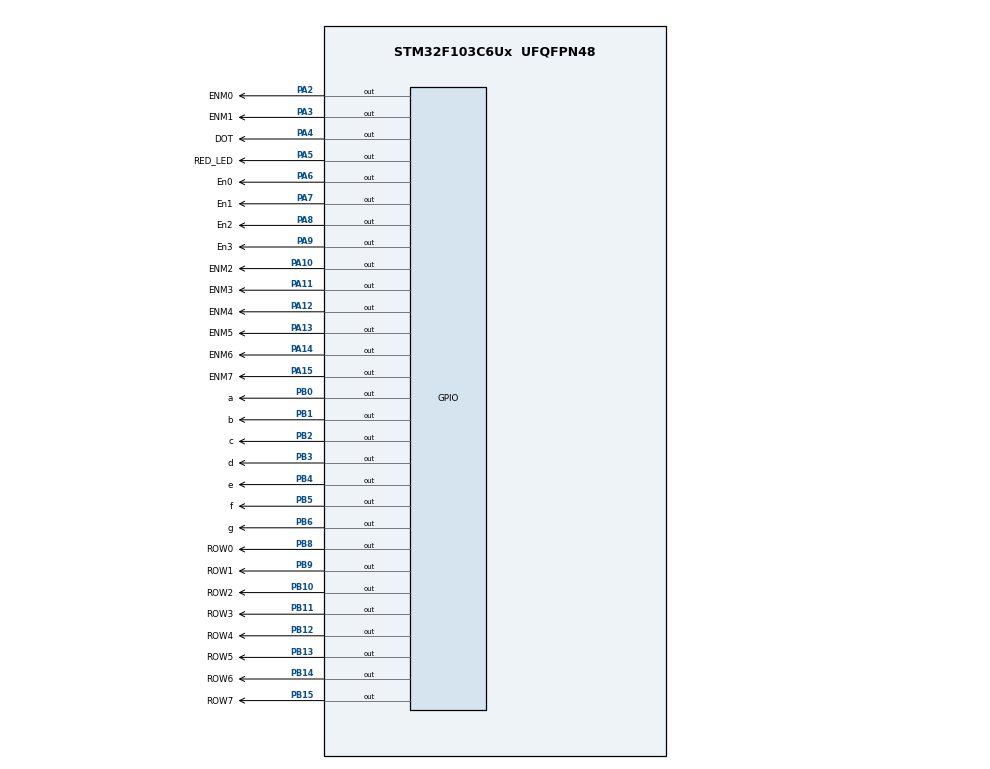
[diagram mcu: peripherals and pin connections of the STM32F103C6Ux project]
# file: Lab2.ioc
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Mcu.Family=STM32F1
Mcu.Name=STM32F103C6Ux
Mcu.Package=UFQFPN48
NVIC.PriorityGroup=NVIC_PRIORITYGROUP_4
NVIC.TIM2_IRQn=true\:0\:0\:false\:false\:true\:true\:true
PA10.GPIO_Label=ENM2
PA10.Signal=GPIO_Output
PA11.GPIO_Label=ENM3
PA11.Signal=GPIO_Output
PA12.GPIO_Label=ENM4
PA12.Signal=GPIO_Output
PA13.GPIO_Label=ENM5
PA13.Signal=GPIO_Output
PA14.GPIO_Label=ENM6
PA14.Signal=GPIO_Output
PA15.GPIO_Label=ENM7
PA15.Signal=GPIO_Output
PA2.GPIO_Label=ENM0
PA2.Signal=GPIO_Output
PA3.GPIO_Label=ENM1
PA3.Signal=GPIO_Output
PA4.GPIO_Label=DOT
PA4.Signal=GPIO_Output
PA5.GPIO_Label=RED_LED
PA5.Signal=GPIO_Output
PA6.GPIO_Label=En0
PA6.Signal=GPIO_Output
PA7.GPIO_Label=En1
PA7.Signal=GPIO_Output
PA8.GPIO_Label=En2
PA8.Signal=GPIO_Output
PA9.GPIO_Label=En3
PA9.Signal=GPIO_Output
PB0.GPIO_Label=a
PB0.Signal=GPIO_Output
PB1.GPIO_Label=b
PB1.Signal=GPIO_Output
PB10.GPIO_Label=ROW2
PB10.Signal=GPIO_Output
PB11.GPIO_Label=ROW3
PB11.Signal=GPIO_Output
PB12.GPIO_Label=ROW4
PB12.Signal=GPIO_Output
PB13.GPIO_Label=ROW5
PB13.Signal=GPIO_Output
PB14.GPIO_Label=ROW6
PB14.Signal=GPIO_Output
PB15.GPIO_Label=ROW7
PB15.Signal=GPIO_Output
PB2.GPIO_Label=c
PB2.Signal=GPIO_Output
PB3.GPIO_Label=d
PB3.Signal=GPIO_Output
PB4.GPIO_Label=e
PB4.Signal=GPIO_Output
PB5.GPIO_Label=f
PB5.Signal=GPIO_Output
PB6.GPIO_Label=g
PB6.Signal=GPIO_Output
PB8.GPIO_Label=ROW0
PB8.Signal=GPIO_Output
PB9.GPIO_Label=ROW1
PB9.Signal=GPIO_Output
ProjectManager.HeapSize=0x200
ProjectManager.StackSize=0x400
ProjectManager.TargetToolchain=STM32CubeIDE
RCC.APB1Freq_Value=8000000
RCC.APB2Freq_Value=8000000
TIM2.Period=9
TIM2.Prescaler=7999
VP_SYS_VS_ND.Mode=No_Debug
VP_TIM2_VS_ClockSourceINT.Mode=Internal
board=custom

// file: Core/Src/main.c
/* USER CODE BEGIN Header */
/* USER CODE END Header */
#include "main.h"

/* USER CODE BEGIN Includes */
#include<sorfware_timer.h>
/* USER CODE END Includes */

TIM_HandleTypeDef htim2;

void SystemClock_Config(void);
static void MX_GPIO_Init(void);
static void MX_TIM2_Init(void);

/* USER CODE BEGIN 0 */

void clear7SEG(){
	  HAL_GPIO_WritePin(a_GPIO_Port, a_Pin, GPIO_PIN_SET);
	  HAL_GPIO_WritePin(b_GPIO_Port, b_Pin, GPIO_PIN_SET);
	  HAL_GPIO_WritePin(c_GPIO_Port, c_Pin, GPIO_PIN_SET);
	  HAL_GPIO_WritePin(d_GPIO_Port, d_Pin, GPIO_PIN_SET);
	  HAL_GPIO_WritePin(e_GPIO_Port, e_Pin, GPIO_PIN_SET);
	  HAL_GPIO_WritePin(f_GPIO_Port, f_Pin, GPIO_PIN_SET);
	  HAL_GPIO_WritePin(g_GPIO_Port, g_Pin, GPIO_PIN_SET);
}
void display7SEG(int num){
    	  switch(num){
    	  	  case 0:
    	  		  HAL_GPIO_WritePin(a_GPIO_Port, a_Pin, GPIO_PIN_RESET);
    	  		  HAL_GPIO_WritePin(b_GPIO_Port, b_Pin, GPIO_PIN_RESET);
    	  		  HAL_GPIO_WritePin(c_GPIO_Port, c_Pin, GPIO_PIN_RESET);
    	  		  HAL_GPIO_WritePin(d_GPIO_Port, d_Pin, GPIO_PIN_RESET);
    	  		  HAL_GPIO_WritePin(e_GPIO_Port, e_Pin, GPIO_PIN_RESET);
    	  		  HAL_GPIO_WritePin(f_GPIO_Port, f_Pin, GPIO_PIN_RESET);
    	  		  HAL_GPIO_WritePin(g_GPIO_Port, g_Pin, GPIO_PIN_SET);
    	  		  break;
    	  	  case 1:
    	  		  HAL_GPIO_WritePin(a_GPIO_Port, a_Pin, GPIO_PIN_SET);
    	  		  HAL_GPIO_WritePin(b_GPIO_Port, b_Pin, GPIO_PIN_RESET);
    	  		  HAL_GPIO_WritePin(c_GPIO_Port, c_Pin, GPIO_PIN_RESET);
    	  		  HAL_GPIO_WritePin(d_GPIO_Port, d_Pin, GPIO_PIN_SET);
    	  		  HAL_GPIO_WritePin(e_GPIO_Port, e_Pin, GPIO_PIN_SET);
    	  		  HAL_GPIO_WritePin(f_GPIO_Port, f_Pin, GPIO_PIN_SET);
    	  		  HAL_GPIO_WritePin(g_GPIO_Port, g_Pin, GPIO_PIN_SET);
    	  		  break;
    	  	  case 2:
    	  		  HAL_GPIO_WritePin(a_GPIO_Port, a_Pin, GPIO_PIN_RESET);
    	  		  HAL_GPIO_WritePin(b_GPIO_Port, b_Pin, GPIO_PIN_RESET);
    	  		  HAL_GPIO_WritePin(c_GPIO_Port, c_Pin, GPIO_PIN_SET);
    	  		  HAL_GPIO_WritePin(d_GPIO_Port, d_Pin, GPIO_PIN_RESET);
    	  		  HAL_GPIO_WritePin(e_GPIO_Port, e_Pin, GPIO_PIN_RESET);
    	  		  HAL_GPIO_WritePin(f_GPIO_Port, f_Pin, GPIO_PIN_SET);
    	  		  HAL_GPIO_WritePin(g_GPIO_Port, g_Pin, GPIO_PIN_RESET);
    	  		  break;
    	  	  case 3:
    	  		  HAL_GPIO_WritePin(a_GPIO_Port, GPIO_PIN_0, GPIO_PIN_RESET);
    	  		  HAL_GPIO_WritePin(b_GPIO_Port, GPIO_PIN_1, GPIO_PIN_RESET);
    	  		  HAL_GPIO_WritePin(c_GPIO_Port, GPIO_PIN_2, GPIO_PIN_RESET);
    	  		  HAL_GPIO_WritePin(d_GPIO_Port, GPIO_PIN_3, GPIO_PIN_RESET);
    	  		  HAL_GPIO_WritePin(e_GPIO_Port, GPIO_PIN_4, GPIO_PIN_SET);
    	  		  HAL_GPIO_WritePin(f_GPIO_Port, GPIO_PIN_5, GPIO_PIN_SET);
    	  		  HAL_GPIO_WritePin(g_GPIO_Port, GPIO_PIN_6, GPIO_PIN_RESET);
    	  		  break;
    	  	  case 4:
    	  		  HAL_GPIO_WritePin(a_GPIO_Port, GPIO_PIN_0, GPIO_PIN_SET);
    	  		  HAL_GPIO_WritePin(b_GPIO_Port, GPIO_PIN_1, GPIO_PIN_RESET);
    	  		  HAL_GPIO_WritePin(c_GPIO_Port, GPIO_PIN_2, GPIO_PIN_RESET);
    	  		  HAL_GPIO_WritePin(d_GPIO_Port, GPIO_PIN_3, GPIO_PIN_SET);
    	  		  HAL_GPIO_WritePin(e_GPIO_Port, GPIO_PIN_4, GPIO_PIN_SET);
    	  		  HAL_GPIO_WritePin(f_GPIO_Port, GPIO_PIN_5, GPIO_PIN_RESET);
    	  		  HAL_GPIO_WritePin(g_GPIO_Port, GPIO_PIN_6, GPIO_PIN_RESET);
    	  		  break;
    	  	  case 5:
    	  		  HAL_GPIO_WritePin(a_GPIO_Port, GPIO_PIN_0, GPIO_PIN_RESET);
    	  		  HAL_GPIO_WritePin(b_GPIO_Port, GPIO_PIN_1, GPIO_PIN_SET);
    	  		  HAL_GPIO_WritePin(c_GPIO_Port, GPIO_PIN_2, GPIO_PIN_RESET);
    	  		  HAL_GPIO_WritePin(d_GPIO_Port, GPIO_PIN_3, GPIO_PIN_RESET);
    	  		  HAL_GPIO_WritePin(e_GPIO_Port, GPIO_PIN_4, GPIO_PIN_SET);
    	  		  HAL_GPIO_WritePin(f_GPIO_Port, GPIO_PIN_5, GPIO_PIN_RESET);
    	  		  HAL_GPIO_WritePin(g_GPIO_Port, GPIO_PIN_6, GPIO_PIN_RESET);
    	  		  break;
    	  	  case 6:
    	  		  HAL_GPIO_WritePin(a_GPIO_Port, GPIO_PIN_0, GPIO_PIN_RESET);
    	  		  HAL_GPIO_WritePin(b_GPIO_Port, GPIO_PIN_1, GPIO_PIN_SET);
    	  		  HAL_GPIO_WritePin(c_GPIO_Port, GPIO_PIN_2, GPIO_PIN_RESET);
    	  		  HAL_GPIO_WritePin(d_GPIO_Port, GPIO_PIN_3, GPIO_PIN_RESET);
    	  		  HAL_GPIO_WritePin(e_GPIO_Port, GPIO_PIN_4, GPIO_PIN_RESET);
    	  		  HAL_GPIO_WritePin(f_GPIO_Port, GPIO_PIN_5, GPIO_PIN_RESET);
    	  		  HAL_GPIO_WritePin(g_GPIO_Port, GPIO_PIN_6, GPIO_PIN_RESET);
    	  		  break;
    	  	  case 7:
    	  		  HAL_GPIO_WritePin(a_GPIO_Port, GPIO_PIN_0, GPIO_PIN_RESET);
    	  		  HAL_GPIO_WritePin(b_GPIO_Port, GPIO_PIN_1, GPIO_PIN_RESET);
    	  		  HAL_GPIO_WritePin(c_GPIO_Port, GPIO_PIN_2, GPIO_PIN_RESET);
    	  		  HAL_GPIO_WritePin(d_GPIO_Port, GPIO_PIN_3, GPIO_PIN_SET);
    	  		  HAL_GPIO_WritePin(e_GPIO_Port, GPIO_PIN_4, GPIO_PIN_SET);
    	  		  HAL_GPIO_WritePin(f_GPIO_Port, GPIO_PIN_5, GPIO_PIN_SET);
    	  		  HAL_GPIO_WritePin(g_GPIO_Port, GPIO_PIN_6, GPIO_PIN_SET);
    	  		  break;
    	  	  case 8:
    	  		  HAL_GPIO_WritePin(a_GPIO_Port, GPIO_PIN_0, GPIO_PIN_RESET);
    	  		  HAL_GPIO_WritePin(b_GPIO_Port, GPIO_PIN_1, GPIO_PIN_RESET);
    	  		  HAL_GPIO_WritePin(c_GPIO_Port, GPIO_PIN_2, GPIO_PIN_RESET);
    	  		  HAL_GPIO_WritePin(d_GPIO_Port, GPIO_PIN_3, GPIO_PIN_RESET);
    	  		  HAL_GPIO_WritePin(e_GPIO_Port, GPIO_PIN_4, GPIO_PIN_RESET);
    	  		  HAL_GPIO_WritePin(f_GPIO_Port, GPIO_PIN_5, GPIO_PIN_RESET);
    	  		  HAL_GPIO_WritePin(g_GPIO_Port, GPIO_PIN_6, GPIO_PIN_RESET);
    	  		  break;
    	  	  case 9:
    	  		  HAL_GPIO_WritePin(a_GPIO_Port, GPIO_PIN_0, GPIO_PIN_RESET);
    	  		  HAL_GPIO_WritePin(b_GPIO_Port, GPIO_PIN_1, GPIO_PIN_RESET);
    	  		  HAL_GPIO_WritePin(c_GPIO_Port, GPIO_PIN_2, GPIO_PIN_RESET);
    	  		  HAL_GPIO_WritePin(d_GPIO_Port, GPIO_PIN_3, GPIO_PIN_RESET);
    	  		  HAL_GPIO_WritePin(e_GPIO_Port, GPIO_PIN_4, GPIO_PIN_SET);
    	  		  HAL_GPIO_WritePin(f_GPIO_Port, GPIO_PIN_5, GPIO_PIN_RESET);
    	  		  HAL_GPIO_WritePin(g_GPIO_Port, GPIO_PIN_6, GPIO_PIN_RESET);
    	  		  break;
    	  	  default:
    	  		  clear7SEG();
    	  		  break;
    	  	  }
      }
void writeEn(int num){
	switch(num){
	case 0:
				HAL_GPIO_WritePin(En0_GPIO_Port, En0_Pin, 0);
				HAL_GPIO_WritePin(En1_GPIO_Port, En1_Pin, 1);
				HAL_GPIO_WritePin(En2_GPIO_Port, En2_Pin, 1);
				HAL_GPIO_WritePin(En3_GPIO_Port, En3_Pin, 1);
				break;
	case 1:
				HAL_GPIO_WritePin(En0_GPIO_Port, En0_Pin, 1);
				HAL_GPIO_WritePin(En1_GPIO_Port, En1_Pin, 0);
				HAL_GPIO_WritePin(En2_GPIO_Port, En2_Pin, 1);
				HAL_GPIO_WritePin(En3_GPIO_Port, En3_Pin, 1);
				break;
	case 2:
				HAL_GPIO_WritePin(En0_GPIO_Port, En0_Pin, 1);
				HAL_GPIO_WritePin(En1_GPIO_Port, En1_Pin, 1);
				HAL_GPIO_WritePin(En2_GPIO_Port, En2_Pin, 0);
				HAL_GPIO_WritePin(En3_GPIO_Port, En3_Pin, 1);
				break;
	case 3:
				HAL_GPIO_WritePin(En0_GPIO_Port, En0_Pin, 1);
				HAL_GPIO_WritePin(En1_GPIO_Port, En1_Pin, 1);
				HAL_GPIO_WritePin(En2_GPIO_Port, En2_Pin, 1);
				HAL_GPIO_WritePin(En3_GPIO_Port, En3_Pin, 0);
				break;
	default:
				HAL_GPIO_WritePin(En0_GPIO_Port, En0_Pin, 1);
				HAL_GPIO_WritePin(En1_GPIO_Port, En1_Pin, 1);
				HAL_GPIO_WritePin(En2_GPIO_Port, En2_Pin, 1);
				HAL_GPIO_WritePin(En3_GPIO_Port, En3_Pin, 1);
				break;
	}
}
	const int MAX_LED = 4;
	int index_led = 0;
	int led_buffer[4] = {2,3,5,9};
void update7SEG(int index){
		switch(index){
			case 0:
				display7SEG(led_buffer[0]);
				writeEn(0);
				break;
			case 1:
				display7SEG(led_buffer[1]);
				writeEn(1);
				break;
			case 2:
				display7SEG(led_buffer[2]);
				writeEn(2);
				break;
			case 3:
				display7SEG(led_buffer[3]);
				writeEn(3);
				break;
			default:
				clear7SEG();
				writeEn(-1);
				break;
		}
}
void updateClockBuffer(int hour, int minute){
	led_buffer[0] = hour /10;
	led_buffer[1] = hour % 10;
	led_buffer[2] = minute /10;
	led_buffer[3] = minute % 10;
}

const int MAX_LED_MATRIX = 8;
int index_led_matrix = 0;
uint8_t matrix_buffer[8] = {0x18, 0x3C , 0x66 , 0x7E , 0x7E , 0x66 , 0x66 , 0x66};

void displayLEDMatrix( int index, uint8_t col_value ){
	GPIO_TypeDef* row_ports[] = {ENM0_GPIO_Port, ENM1_GPIO_Port, ENM2_GPIO_Port, ENM3_GPIO_Port, ENM4_GPIO_Port, ENM5_GPIO_Port, ENM6_GPIO_Port, ENM7_GPIO_Port};
	uint16_t row_pins[] = {ENM0_Pin, ENM1_Pin, ENM2_Pin, ENM3_Pin, ENM4_Pin, ENM5_Pin, ENM6_Pin, ENM7_Pin};

	switch(index){
		case 0:
			HAL_GPIO_WritePin(ROW0_GPIO_Port, ROW0_Pin, 0);
			HAL_GPIO_WritePin(ROW7_GPIO_Port, ROW7_Pin, 1);
			break;
		case 1:
			HAL_GPIO_WritePin(ROW0_GPIO_Port, ROW0_Pin, 1);
			HAL_GPIO_WritePin(ROW1_GPIO_Port, ROW1_Pin, 0);
			break;
		case 2:
			HAL_GPIO_WritePin(ROW1_GPIO_Port, ROW1_Pin, 1);
			HAL_GPIO_WritePin(ROW2_GPIO_Port, ROW2_Pin, 0);
			break;
		case 3:
			HAL_GPIO_WritePin(ROW2_GPIO_Port, ROW2_Pin, 1);
			HAL_GPIO_WritePin(ROW3_GPIO_Port, ROW3_Pin, 0);
			break;
		case 4:
			HAL_GPIO_WritePin(ROW3_GPIO_Port, ROW3_Pin, 1);
			HAL_GPIO_WritePin(ROW4_GPIO_Port, ROW4_Pin, 0);
			break;
		case 5:
			HAL_GPIO_WritePin(ROW4_GPIO_Port, ROW4_Pin, 1);
			HAL_GPIO_WritePin(ROW5_GPIO_Port, ROW5_Pin, 0);
			break;
		case 6:
			HAL_GPIO_WritePin(ROW5_GPIO_Port, ROW5_Pin, 1);
			HAL_GPIO_WritePin(ROW6_GPIO_Port, ROW6_Pin, 0);
			break;
		case 7:
			HAL_GPIO_WritePin(ROW6_GPIO_Port, ROW6_Pin, 1);
			HAL_GPIO_WritePin(ROW7_GPIO_Port, ROW7_Pin, 0);
			break;
	}

	for (int i = 0; i < 8; i++) {
        if (col_value & (1 << i)) HAL_GPIO_WritePin(row_ports[i], row_pins[i], 0);
        else HAL_GPIO_WritePin(row_ports[i], row_pins[i], 1);
	}

}
void updateLEDMatrix( int index ) {
	switch(index){
		case 0:
			displayLEDMatrix(0, matrix_buffer[0]);
			break;
		case 1:
			displayLEDMatrix(1, matrix_buffer[1]);
			break;
		case 2:
			displayLEDMatrix(2, matrix_buffer[2]);
			break;
		case 3:
			displayLEDMatrix(3, matrix_buffer[3]);
			break;
		case 4:
			displayLEDMatrix(4, matrix_buffer[4]);
			break;
		case 5:
			displayLEDMatrix(5, matrix_buffer[5]);
			break;
		case 6:
			displayLEDMatrix(6, matrix_buffer[6]);
			break;
		case 7:
			displayLEDMatrix(7, matrix_buffer[7]);
			break;
		default:
			displayLEDMatrix(-1, 0x00);
			break;

	}
}
void initState(){
	  clear7SEG();
	  writeEn(-1);
	  HAL_GPIO_WritePin(DOT_GPIO_Port, DOT_Pin, 1);
	  HAL_GPIO_WritePin(RED_LED_GPIO_Port, RED_LED_Pin, 1);
	  updateLEDMatrix(-1);
}
/* USER CODE END 0 */

int main(void)
{

  /* MCU Configuration--------------------------------------------------------*/

  /* Reset of all peripherals, Initializes the Flash interface and the Systick. */
  HAL_Init();

  /* Configure the system clock */
  SystemClock_Config();

  /* Initialize all configured peripherals */
  MX_GPIO_Init();
  MX_TIM2_Init();
  /* USER CODE BEGIN 2 */
  HAL_TIM_Base_Start_IT(&htim2);
  /* USER CODE END 2 */

  /* Infinite loop */
  /* USER CODE BEGIN WHILE */

  int hour = 23, minute = 59 , second = 50;
  //setTimer(0, CYCLE/4); // 7SEG
  setTimer(1, 500); // RED_LED
  setTimer(2, 1000); // DOT
  setTimer(3, 1000); // Clock
  initState();

  const int CYCLE = 1000;
  int timer_offset[4] = {250, 500, 750 ,1000};
  for(int i = 0; i < 4; i++){
	  setTimer(i + 4, timer_offset[i]);
  }

  setTimer(8, 10); // Matrix

  while(1){
	  if(timer_flag[8] == 1){
		  setTimer(8, 10);
		  if(index_led_matrix > 7) index_led_matrix = 0;
		  updateLEDMatrix(index_led_matrix++);
	  }

	  for(int i = 0; i < 4; i++){
		  if(timer_flag[i + 4] == 1){
			  setTimer(i + 4, CYCLE);
			  update7SEG(i);
		  }
	  }

	  if(timer_flag[1] == 1){
		setTimer(1, 500);
		HAL_GPIO_TogglePin(RED_LED_GPIO_Port, RED_LED_Pin);
	  }
	  if(timer_flag[2] == 1){
		setTimer(2, 1000);
		HAL_GPIO_TogglePin(DOT_GPIO_Port, DOT_Pin);
	  }
	  if(timer_flag[3] == 1){
		  setTimer(3, 1000);
		  second++;
		  if(second >= 60){
			  second = 0;
			  minute++;
		  }
		  if(minute >= 60){
			  minute = 0;
			  hour++;
		  }
		  if(hour >= 24) hour = 0;
		  updateClockBuffer(hour, minute);
	  }
  }
    /* USER CODE END WHILE */

}

void SystemClock_Config(void)
{
  RCC_OscInitTypeDef RCC_OscInitStruct = {0};
  RCC_ClkInitTypeDef RCC_ClkInitStruct = {0};

  /** Initializes the RCC Oscillators according to the specified parameters
  * in the RCC_OscInitTypeDef structure.
  */
  RCC_OscInitStruct.OscillatorType = RCC_OSCILLATORTYPE_HSI;
  RCC_OscInitStruct.HSIState = RCC_HSI_ON;
  RCC_OscInitStruct.HSICalibrationValue = RCC_HSICALIBRATION_DEFAULT;
  RCC_OscInitStruct.PLL.PLLState = RCC_PLL_NONE;
  if (HAL_RCC_OscConfig(&RCC_OscInitStruct) != HAL_OK)
  {
    Error_Handler();
  }
  /** Initializes the CPU, AHB and APB buses clocks
  */
  RCC_ClkInitStruct.ClockType = RCC_CLOCKTYPE_HCLK|RCC_CLOCKTYPE_SYSCLK
                              |RCC_CLOCKTYPE_PCLK1|RCC_CLOCKTYPE_PCLK2;
  RCC_ClkInitStruct.SYSCLKSource = RCC_SYSCLKSOURCE_HSI;
  RCC_ClkInitStruct.AHBCLKDivider = RCC_SYSCLK_DIV1;
  RCC_ClkInitStruct.APB1CLKDivider = RCC_HCLK_DIV1;
  RCC_ClkInitStruct.APB2CLKDivider = RCC_HCLK_DIV1;

  if (HAL_RCC_ClockConfig(&RCC_ClkInitStruct, FLASH_LATENCY_0) != HAL_OK)
  {
    Error_Handler();
  }
}

static void MX_TIM2_Init(void)
{

  TIM_ClockConfigTypeDef sClockSourceConfig = {0};
  TIM_MasterConfigTypeDef sMasterConfig = {0};

  htim2.Instance = TIM2;
  htim2.Init.Prescaler = 7999;
  htim2.Init.CounterMode = TIM_COUNTERMODE_UP;
  htim2.Init.Period = 9;
  htim2.Init.ClockDivision = TIM_CLOCKDIVISION_DIV1;
  htim2.Init.AutoReloadPreload = TIM_AUTORELOAD_PRELOAD_DISABLE;
  if (HAL_TIM_Base_Init(&htim2) != HAL_OK)
  {
    Error_Handler();
  }
  sClockSourceConfig.ClockSource = TIM_CLOCKSOURCE_INTERNAL;
  if (HAL_TIM_ConfigClockSource(&htim2, &sClockSourceConfig) != HAL_OK)
  {
    Error_Handler();
  }
  sMasterConfig.MasterOutputTrigger = TIM_TRGO_RESET;
  sMasterConfig.MasterSlaveMode = TIM_MASTERSLAVEMODE_DISABLE;
  if (HAL_TIMEx_MasterConfigSynchronization(&htim2, &sMasterConfig) != HAL_OK)
  {
    Error_Handler();
  }

}

static void MX_GPIO_Init(void)
{
  GPIO_InitTypeDef GPIO_InitStruct = {0};

  /* GPIO Ports Clock Enable */
  __HAL_RCC_GPIOA_CLK_ENABLE();
  __HAL_RCC_GPIOB_CLK_ENABLE();

  /*Configure GPIO pin Output Level */
  HAL_GPIO_WritePin(GPIOA, ENM0_Pin|ENM1_Pin|DOT_Pin|RED_LED_Pin
                          |En0_Pin|En1_Pin|En2_Pin|En3_Pin
                          |ENM2_Pin|ENM3_Pin|ENM4_Pin|ENM5_Pin
                          |ENM6_Pin|ENM7_Pin, GPIO_PIN_RESET);

  /*Configure GPIO pin Output Level */
  HAL_GPIO_WritePin(GPIOB, a_Pin|b_Pin|c_Pin|ROW2_Pin
                          |ROW3_Pin|ROW4_Pin|ROW5_Pin|ROW6_Pin
                          |ROW7_Pin|d_Pin|e_Pin|f_Pin
                          |g_Pin|ROW0_Pin|ROW1_Pin, GPIO_PIN_RESET);

  /*Configure GPIO pins : ENM0_Pin ENM1_Pin DOT_Pin RED_LED_Pin
                           En0_Pin En1_Pin En2_Pin En3_Pin
                           ENM2_Pin ENM3_Pin ENM4_Pin ENM5_Pin
                           ENM6_Pin ENM7_Pin */
  GPIO_InitStruct.Pin = ENM0_Pin|ENM1_Pin|DOT_Pin|RED_LED_Pin
                          |En0_Pin|En1_Pin|En2_Pin|En3_Pin
                          |ENM2_Pin|ENM3_Pin|ENM4_Pin|ENM5_Pin
                          |ENM6_Pin|ENM7_Pin;
  GPIO_InitStruct.Mode = GPIO_MODE_OUTPUT_PP;
  GPIO_InitStruct.Pull = GPIO_NOPULL;
  GPIO_InitStruct.Speed = GPIO_SPEED_FREQ_LOW;
  HAL_GPIO_Init(GPIOA, &GPIO_InitStruct);

  /*Configure GPIO pins : a_Pin b_Pin c_Pin ROW2_Pin
                           ROW3_Pin ROW4_Pin ROW5_Pin ROW6_Pin
                           ROW7_Pin d_Pin e_Pin f_Pin
                           g_Pin ROW0_Pin ROW1_Pin */
  GPIO_InitStruct.Pin = a_Pin|b_Pin|c_Pin|ROW2_Pin
                          |ROW3_Pin|ROW4_Pin|ROW5_Pin|ROW6_Pin
                          |ROW7_Pin|d_Pin|e_Pin|f_Pin
                          |g_Pin|ROW0_Pin|ROW1_Pin;
  GPIO_InitStruct.Mode = GPIO_MODE_OUTPUT_PP;
  GPIO_InitStruct.Pull = GPIO_NOPULL;
  GPIO_InitStruct.Speed = GPIO_SPEED_FREQ_LOW;
  HAL_GPIO_Init(GPIOB, &GPIO_InitStruct);

}

/* USER CODE BEGIN 4 */
void HAL_TIM_PeriodElapsedCallback(TIM_HandleTypeDef *htim){
	timerRun();
}
/* USER CODE END 4 */

void Error_Handler(void)
{
}

/************************ (C) COPYRIGHT STMicroelectronics *****END OF FILE****/
